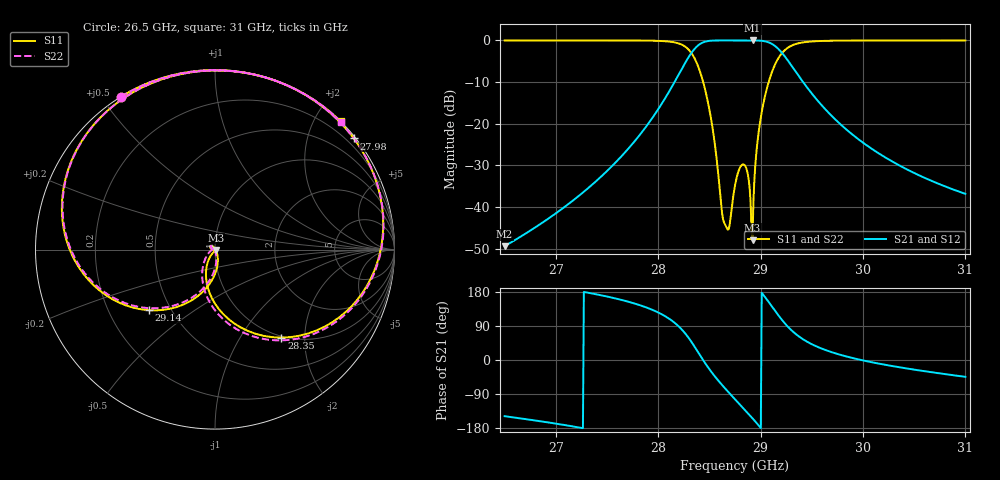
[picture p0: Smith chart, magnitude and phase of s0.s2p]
! Touchstone file from project Ka_PF
! Exported from HFSS 15.0.0
! Variables:
!  AA = 0.34in
!  BB = 0.145in
!  M01 = 0.1632in
!  M11 = 0.2159in
!  M12 = 0.106in
!  M22 = 0.2395in
!  PL = 0.3in
!  RR = 0.035in
!  TT = 0.04in
!Data is not renormalized
# GHZ S DB
! Modal data exported
! Port[1] = 1:1
! Port[2] = 2:1
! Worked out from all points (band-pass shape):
!   501 points, 26.5 GHz to 31 GHz, reference per port
!   highest |S21| = 0.00 dB at 28.92 GHz (marker M1); lowest = -49.4 dB at 26.5 GHz (marker M2)
!   |S21| within 3 dB of the highest: 28.32 GHz to 29.21 GHz (885.3 MHz wide, 3.08 % of centre)
!   lowest |S11| = -47.9 dB at 28.92 GHz (marker M3), VSWR 1.01
!   |S11| at or under -10 dB: 28.44 GHz to 29.08 GHz (639.3 MHz wide, 2.22 % of centre)
!   |S22| runs from -48.0 to 0.0 dB; largest |S21 - S12| = 1.8e-14
!   S11 on the Smith chart (normalised r, x): 26.5 GHz: 0.00, +0.56; 27.98 GHz: 0.04, +2.85; 28.35 GHz: 0.98, -1.54; 29.14 GHz: 0.38, -0.34; 31 GHz: 0.00, +2.38
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26.5  -0.00 121.7  -49.39 -148.3  -49.39 -148.3  -0.00 121.7
! Gamma ! -0 419.682083069278 -0 419.682122081271
! Port Impedance 262.308413650299 0 262.304012454362 0
27.256  -0.00 90.6  -36.69 -179.5  -36.69 -179.5  -0.00 90.5
27.688  -0.01 65.4  -26.54 155.3  -26.54 155.3  -0.01 65.2
27.976  -0.08 38.7  -17.41 128.4  -17.41 128.4  -0.08 38.2
28.003  -0.10 35.3  -16.40 125.0  -16.40 125.0  -0.10 34.7
28.21  -0.80 -3.3  -7.72 86.1  -7.72 86.1  -0.80 -4.5
28.354  -4.23 -53.0  -2.06 35.8  -2.06 35.8  -4.23 -55.5
28.471  -13.15 -100.1  -0.22 -13.3  -0.22 -13.3  -13.15 -106.6
28.543  -23.05 -121.6  -0.02 -39.8  -0.02 -39.8  -23.05 -138.0
28.642  -43.63 -76.5  -0.00 -71.6  -0.00 -71.6  -43.59 113.2
28.687  -45.35 -106.9  -0.00 -85.2  -0.00 -85.2  -45.32 116.5
28.75  -34.83 175.5  -0.00 -103.7  -0.00 -103.7  -34.83 157.1
28.849  -30.09 136.8  -0.00 -132.4  -0.00 -132.4  -30.09 138.2
28.921  -47.95 -20.7  -0.00 -153.8  -0.00 -153.8  -48.01 -106.6
28.957  -27.33 -69.8  -0.01 -165.0  -0.01 -165.0  -27.33 -80.2
28.993  -19.88 -83.8  -0.04 -176.7  -0.04 -176.7  -19.88 -89.5
29.137  -6.00 -137.6  -1.26 131.4  -1.26 131.4  -6.00 -139.5
29.29  -1.39 171.9  -5.63 81.4  -5.63 81.4  -1.39 170.9
29.506  -0.23 131.1  -12.93 40.9  -12.93 40.9  -0.23 130.6
29.794  -0.04 102.7  -20.44 12.5  -20.44 12.5  -0.04 102.4
30.253  -0.01 75.7  -28.60 -14.4  -28.60 -14.4  -0.01 75.5
31  -0.00 45.6  -36.83 -44.4  -36.83 -44.4  -0.00 45.5
